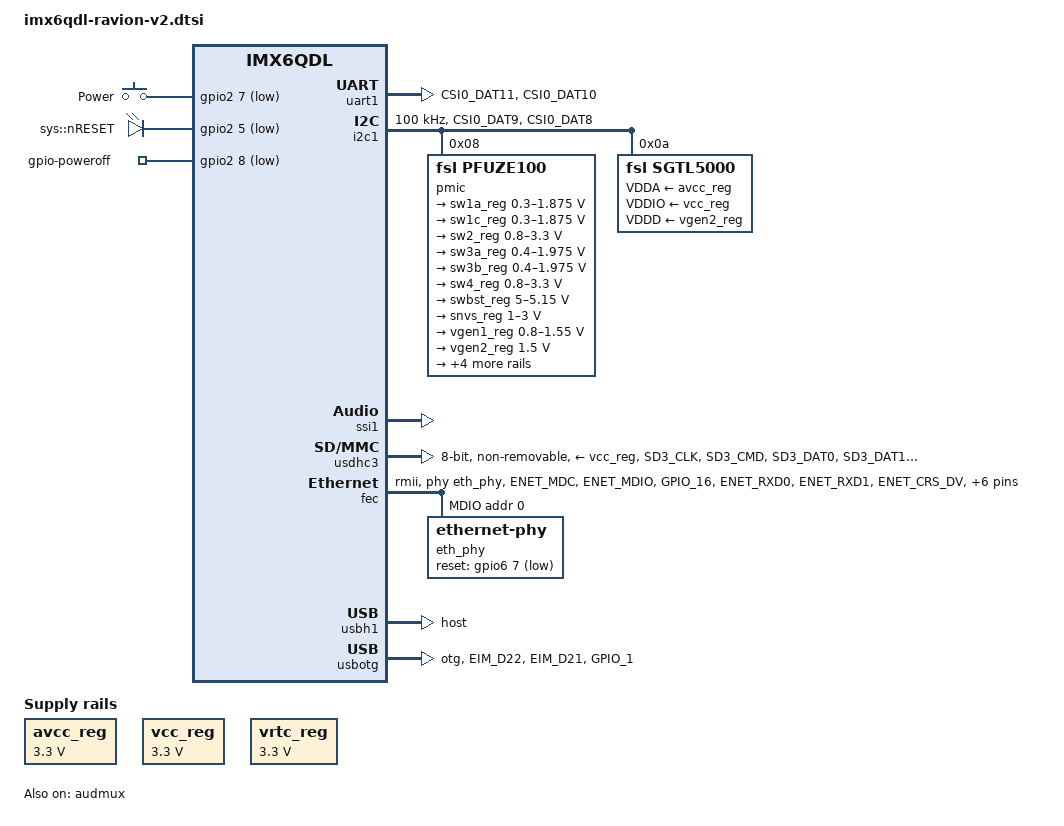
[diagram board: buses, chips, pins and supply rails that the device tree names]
/*****************************************************************************
******************************************************************************
** OAO Radioavionica,
** Ravion200 CPU module rev: 0.7.1
**
** TUNING:
** SPI_CS_GPIO	- use ecspi chip-select as GPIO pin
** DEBUG	- register UART1 as stout patch
**
** (c) 2019, OAO Radiovionica,
**     190105, Russia, St-Petersburg, Troitskiy pr. 4 liter B.
** (c) 2019, Alex A. Mihaylov <minimumlaw@rambler.ru>
******************************************************************************
*****************************************************************************/

#include <dt-bindings/input/input.h>
#include <dt-bindings/gpio/gpio.h>

/ {
	chosen {
#ifdef DEBUG
		stdout-path = "serial0:115200n8";
#endif
	};

	aliases { /* renumbering SD/MMC cards and eMMC chip */
		mmc0 = &usdhc3;
		mmc1 = &usdhc1;
		mmc2 = &usdhc2;
		serial0 = &uart1;
		serial1 = &uart2;
		serial2 = &uart3;
		ethernet0 = &fec;
	};

	/*
	 * Critical GPIO handle
	 */

	gpio-keys {
		compatible = "gpio-keys";

		power {
			label = "Power";
			gpios = <&gpio2 7 GPIO_ACTIVE_LOW>;	/* soDimm 125 */
			linux,code = <KEY_POWER>;
			debounce-interval = <100>;
			wakeup-source;
		};
	};

	gpio-leds {
		compatible = "gpio-leds";

		sys_reset {
			label = "sys::nRESET";
			gpios = <&gpio2 5 GPIO_ACTIVE_LOW>;	/* soDimm 121 */
			default-state = "off";
		};
	};

	gpio-poweroff {
		compatible = "gpio-poweroff";
		gpios = <&gpio2 8 GPIO_ACTIVE_LOW>;		/* soDimm 127 */
	};

	/*
	 * Power sources
	 */

	avcc_reg: avcc_regulator {
		compatible = "regulator-fixed";
		regulator-name = "avcc-supply";
		regulator-min-microvolt = <3300000>;
		regulator-max-microvolt = <3300000>;
		regulator-boot-on;
		regulator-always-on;
	};

	vcc_reg: vcc_regulator {
		compatible = "regulator-fixed";
		regulator-name = "vcc-supply";
		regulator-min-microvolt = <3300000>;
		regulator-max-microvolt = <3300000>;
		regulator-boot-on;
		regulator-always-on;
	};

	vrtc_reg: vrtc_regulator {
		compatible = "regulator-fixed";
		regulator-name = "vrtc-supply";
		regulator-min-microvolt = <3300000>;
		regulator-max-microvolt = <3300000>;
		regulator-boot-on;
		regulator-always-on;
	};

	/* Sound subsystem */
	module_sound: sound {
		compatible = "fsl,imx6-ravion-sgtl5000",
			    "fsl,imx-audio-sgtl5000";
		model = "ravion-sgtl5000";
		ssi-controller = <&ssi1>;
		audio-codec = <&sgtl5000>;
		audio-routing =
		    "MIC_IN", "Mic Jack",
		    "Mic Jack", "Mic Bias",
		    "Headphone Jack", "HP_OUT";
		mux-int-port = <1>;
		mux-ext-port = <4>;
	};

	/* Graphics and video subsystem (TFT interface) */
	tft_display_bus: parallel-display {
		compatible = "fsl,imx-parallel-display";
		#address-cells = <1>;
		#size-cells = <0>;
		interface-pix-fmt = "rgb24";
		pinctrl-names = "default";
		pinctrl-0 = <&pinctrl_tftbus>;
		status = "disabled";

		port@0 {
			reg = <0>;
			tft_bus_in: endpoint {
			    remote-endpoint = <&ipu1_di1_disp1>;
			};
		};

		port@1 {
			reg = <1>;
			tft_bus_out: endpoint {
				/* ToDo: place TFT bus panel or bridge input endpoint here */
			};
		};
	};
};

/* Universal Asynctronous Reseivers and Transmitters */

&uart1 { /* system console - always enabled */
	pinctrl-names = "default";
	pinctrl-0 = <&pinctrl_uart1>;
	status = "okay";
 };

&uart2 { /* Bluetooth uart - default disabled */
	pinctrl-names = "default";
	pinctrl-0 = <&pinctrl_uart2>;
	uart-has-rtscts;
	status = "disabled";
};

&uart3 { /* Addition uart - default disabled */
	pinctrl-names = "default";
	pinctrl-0 = <&pinctrl_uart3>;
	status = "disabled";
};

/* Controller Area Network */
&can1 {
	pinctrl-names = "default";
	pinctrl-0 = <&pinctrl_can>;
	status = "disabled";
};

/* Inter-Integrated Circuit Communications */

&i2c1 { /* Internal I2C - default OK */
	clock-frequency = <100000>;
	pinctrl-names = "default";
	pinctrl-0 = <&pinctrl_i2c_int>;
	status = "okay";

	pmic: pfuze100@8 {
		pinctrl-names = "default";
		pinctrl-0 = <&pinctrl_pmic>; /* ToDo: CCM_PMIC_READY - Where??? */
		compatible = "fsl,pfuze100";
		reg = <0x08>;

		regulators {
			sw1a_reg: sw1ab {
				regulator-min-microvolt = <300000>;
				regulator-max-microvolt = <1875000>;
				regulator-boot-on;
				regulator-always-on;
				regulator-ramp-delay = <6250>;
			    };

			sw1c_reg: sw1c {
				regulator-min-microvolt = <300000>;
				regulator-max-microvolt = <1875000>;
				regulator-boot-on;
				regulator-always-on;
				regulator-ramp-delay = <6250>;
			};

			sw2_reg: sw2 {
				regulator-min-microvolt = <800000>;
				regulator-max-microvolt = <3300000>;
				regulator-boot-on;
				regulator-always-on;
				regulator-ramp-delay = <6250>;
			};

			sw3a_reg: sw3a {
				regulator-min-microvolt = <400000>;
				regulator-max-microvolt = <1975000>;
				regulator-boot-on;
				regulator-always-on;
			};

			sw3b_reg: sw3b {
				regulator-min-microvolt = <400000>;
				regulator-max-microvolt = <1975000>;
				regulator-boot-on;
				regulator-always-on;
			};

			sw4_reg: sw4 {
				regulator-min-microvolt = <800000>;
				regulator-max-microvolt = <3300000>;
			};

			swbst_reg: swbst {
				regulator-min-microvolt = <5000000>;
				regulator-max-microvolt = <5150000>;
				regulator-boot-on;
				regulator-always-on;
			};

			snvs_reg: vsnvs {
				regulator-min-microvolt = <1000000>;
				regulator-max-microvolt = <3000000>;
				regulator-boot-on;
				regulator-always-on;
			};

			vref_reg: vrefddr {
				regulator-boot-on;
				regulator-always-on;
			};

			vgen1_reg: vgen1 {
				regulator-min-microvolt = <800000>;
				regulator-max-microvolt = <1550000>;
			};

			vgen2_reg: vgen2 {
				regulator-min-microvolt = <1500000>;
				regulator-max-microvolt = <1500000>;
				regulator-boot-on;
				regulator-always-on;
			};

			vgen3_reg: vgen3 {
				regulator-min-microvolt = <1800000>;
				regulator-max-microvolt = <3300000>;
				regulator-always-on;
			};

			vgen4_reg: vgen4 {
				regulator-min-microvolt = <1800000>;
				regulator-max-microvolt = <3300000>;
				regulator-always-on;
			};

			vgen5_reg: vgen5 {
				regulator-min-microvolt = <1800000>;
				regulator-max-microvolt = <3300000>;
				regulator-always-on;
			};

			vgen6_reg: vgen6 {
				regulator-min-microvolt = <1800000>;
				regulator-max-microvolt = <3300000>;
				regulator-always-on;
			};
		};
	};

	sgtl5000: codec@a {
		pinctrl-names = "default";
		pinctrl-0 = <&pinctrl_codec_aud4>, <&pinctrl_codecmclk>;
		compatible = "fsl,sgtl5000";
		reg = <0x0a>;
		VDDA-supply = <&avcc_reg>;
		VDDIO-supply = <&vcc_reg>;
		VDDD-supply = <&vgen2_reg>;
		clocks = <&clks IMX6QDL_CLK_CKO>; /* FixMe: CCM_CKO1 pin??? */
		lrclk-strength = <3>;
	};
};

/* Audio (codec part) */

&audmux {	status = "okay";	};
&ssi1	{	status = "okay";	};

&i2c2 { /* Compatible I2C - default disabled */
	clock-frequency = <100000>;
	pinctrl-names = "default";
	pinctrl-0 = <&pinctrl_i2c>;
	status = "disabled";
};

&i2c3 { /* Extended I2C - default disabled */
	clock-frequency = <100000>;
	pinctrl-names = "default";
	pinctrl-0 = <&pinctrl_i2c_ext>;
	status = "disabled";
};

/* Serial Peripherial Interface Bus */

&ecspi1 { /* ECSPI1 - default diabled */
	pinctrl-names = "default";
	pinctrl-0 = <&pinctrl_spi>;
#ifdef SPI_CS_GPIO
	cs-gpios = <&gpio5 25 GPIO_ACTIVE_LOW>;
#endif
	status = "disabled";
};

/* SecureDigital and (embedded) MultiMedia Cards */

&usdhc1 { /* microSD1 - default disabled */
	pinctrl-names = "default";
	pinctrl-0 = <&pinctrl_sd1>;
	bus-width = <4>;
	no-1-8-v;
	status = "disabled";
};

&usdhc2 { /* microSD2 - default disabled */
	pinctrl-names = "default";
	pinctrl-0 = <&pinctrl_sd2>;
	bus-width = <4>;
	no-1-8-v;
	status = "disabled";
};

&usdhc3 { /* eMMC - default enabled */
	pinctrl-names = "default";
	pinctrl-0 = <&pinctrl_emmc>;
	vmmc-supply = <&vcc_reg>;	/* FixMe: GEN_3V3 != VCC */
	vqmmc-supply = <&vgen3_reg>;	/* FixMe: volatage-range??? */
	bus-width = <8>;
	non-removable;
	status = "okay";
};

/* Fast Ethernet Controller */

&fec { /* Ethernet - default enabled */
	pinctrl-names = "default";
	pinctrl-0 = <&pinctrl_fec>;
	phy-mode = "rmii";
	phy-handle = <&eth_phy>;
	status = "okay";

	mdio {
		#address-cells = <1>;
		#size-cells = <0>;

		eth_phy: ethernet-phy@0 {
			reg = <0>;
			phy-is-integrated;
			reset-gpios = <&gpio6 7 GPIO_ACTIVE_LOW>;
			reset-assert-us = <100>;
			reset-deassert-us = <100>;
			interrupt-parent = <&gpio6>;
			interrups = <8 IRQ_TYPE_EDGE_RISING>;
		};
	};
};

/* Personal Communication Interface */

&pcie { /* ToDo: PCIe - default disabled (!!! CLOCKS !!!) */
	status = "disabled";
};

/* Universal Serial Bus */

&usbh1 { /* Host interface - default enabled (always connected to HUB) */
	disable-over-current;
	maximum-speed = "high-speed";
	dr_mode = "host";
	status = "okay";
};

&usbh3 { /* HSIC interface */
	pinctrl-names = "idle", "active";
	pinctrl-0 = <&pinctrl_usbhsic_idle>;
	pinctrl-1 = <&pinctrl_usbhsic_active>;
	hsic-supply = <&vgen1_reg>;
	dr_mode = "host";
	disable-over-current;
	status = "disabled";
};

&usbotg { /* ITG interface - default enabled */
	pinctrl-names = "default";
	pinctrl-0 = <&pinctrl_usbotg>;
	maximum-speed = "high-speed";
	dr_mode = "otg";
	status = "okay";
};

/* Pulse-Width Modulators  */

&pwm3 {
	pinctrl-names = "default";
	pinctrl-0 = <&pinctrl_pwm3>;
	status = "disabled";
};

&pwm4 {
	pinctrl-names = "default";
	pinctrl-0 = <&pinctrl_pwm4>;
	status = "disabled";
};

/* High-Definition Multimedia Interface */

&hdmi {
	pinctrl-names = "default";
	pinctrl-0 = <&pinctrl_hdmi>;
	status = "disabled";
};

/* Low Voltage Display Bridge */

&ldb {
	status = "disabled";

	lvds0_chan: lvds-channel@0 {
		status = "disabled";

		port@4 {
			reg = <4>;

			lvds0_out: endpoint {
				/* ToDo: place LVDS panel input endpoint here */
			};
		};
	};
};

/* IPU1 to Parrallel Display (TFT) Bus */
&ipu1_di1_disp1 {
	remote-endpoint = <&tft_bus_in>;
};


/*
 * Remove unneeded and unconnected parallel sensor port
 */
&gpr {
	ipu1_csi0_mux {
		/delete-node/port@1;
	};

	ipu2_csi1_mux {
		/delete-node/port@1;
	};
};

&iomuxc {
	pinctrl-names = "default";
	pinctrl-0 = <&pinctrl_hog>;

/* Power, reset and other required control pins */

/*	pinctrl_pwr: pwrgrp { */
/*	    fsl, pins = < */
/* 003 */	/* MIC_GND */				/*pwr*/
/* 009 */	/* AGND */				/*pwr*/
/* 011 */	/* AGND */				/*pwr*/
/* 010 */	/* AVCC */				/*pwr*/
/* 012 */	/* AVCC */				/*pwr*/
/* 013 */	/* HP_GND */				/*pwr*/
/* 026 */	/* nRESET_IN */				/*ext*/
/* 039 */	/* GND */				/*pwr*/
/* 041 */	/* GND */				/*pwr*/
/* 083 */	/* GND */				/*pwr*/
/* 109 */	/* GND */				/*pwr*/
/* 147 */	/* GND */				/*pwr*/
/* 181 */	/* GND */				/*pwr*/
/* 197 */	/* GND */				/*pwr*/
/* 199 */	/* GND */				/*pwr*/
/* 040 */	/* VCC */				/*pwr*/
/* 042 */	/* VCC */				/*pwr*/
/* 084 */	/* VCC */				/*pwr*/
/* 108 */	/* VCC */				/*pwr*/
/* 148 */	/* VCC */				/*pwr*/
/* 182 */	/* VCC */				/*pwr*/
/* 198 */	/* VCC */				/*pwr*/
/* 200 */	/* VCC */				/*pwr*/
/* 191 */	/* ETH_GND */				/*pwr*/
/*	    >; */
/*	}; */

/* Universal GPIO group */

	pinctrl_hog: hoggrp {
	    fsl,pins = <
/* 055 */	MX6QDL_PAD_GPIO_2__GPIO1_IO02		0x1b0b0
/* 059 */	MX6QDL_PAD_CSI0_DAT17__GPIO6_IO03	0x1b0b0
/* 085 */	MX6QDL_PAD_CSI0_DAT18__GPIO6_IO04	0x1b0b0
/* 106 */	MX6QDL_PAD_EIM_CS1__GPIO2_IO24		0x0b0b1 /* NXP IOMUX???  SD2_DETECT */
/* 110 */	MX6QDL_PAD_EIM_OE__GPIO2_IO25		0x0b0b1 /* NXP IOMUX ??? */
/* 111 */	MX6QDL_PAD_NANDF_D0__GPIO2_IO00		0x1b0b0
/* 112 */	MX6QDL_PAD_EIM_RW__GPIO2_IO26		0x0b0b1 /* NXP IOMUX ??? */
/* 113 */	MX6QDL_PAD_NANDF_D1__GPIO2_IO01		0x1b0b0
/* 114 */	MX6QDL_PAD_EIM_LBA__GPIO2_IO27		0x0b0b1 /* NXP IOMUX ??? */
/* 115 */	MX6QDL_PAD_NANDF_D2__GPIO2_IO02		0x1b0b0
/* 116 */	MX6QDL_PAD_CSI0_DAT13__GPIO5_IO31	0x1b0b0
/* 117 */	MX6QDL_PAD_NANDF_D3__GPIO2_IO03		0x1b0b0
/* 118 */	MX6QDL_PAD_EIM_DA13__GPIO3_IO13		0x0b0b1 /* NXP IOMUX ??? */
/* 119 */	MX6QDL_PAD_NANDF_D4__GPIO2_IO04		0x0b0b1 /* NXP IOMUX ??? */
/* 120 */	MX6QDL_PAD_EIM_DA15__GPIO3_IO15		0x0b0b1 /* NXP IOMUX ??? */
/* 121 */	MX6QDL_PAD_NANDF_D5__GPIO2_IO05		0x1b0b0 /* nRESET_OUT */
/* 122 */	MX6QDL_PAD_DISP0_DAT15__GPIO5_IO09	0x1b0b0
/* 123 */	MX6QDL_PAD_NANDF_D6__GPIO2_IO06		0x1b0b0
/* 124 */	MX6QDL_PAD_KEY_COL0__GPIO4_IO06		0x1b0b0
/* 125 */	MX6QDL_PAD_NANDF_D7__GPIO2_IO07		0x1b0b0 /* ON/OFF */
/* 126 */	MX6QDL_PAD_KEY_ROW2__GPIO4_IO11		0x1b0b0
/* 127 */	MX6QDL_PAD_SD4_DAT0__GPIO2_IO08		0x1b0b1 /* nPWR_DOWN */
/* 133 */	MX6QDL_PAD_SD4_DAT3__GPIO2_IO11		0x1b0b1
/* 150 */	MX6QDL_PAD_KEY_COL1__GPIO4_IO08		0x1b0b0
/* 152 */	MX6QDL_PAD_KEY_ROW1__GPIO4_IO09		0x1b0b0
/* 154 */	MX6QDL_PAD_KEY_COL2__GPIO4_IO10		0x1b0b0
/* 156 */	MX6QDL_PAD_KEY_COL4__GPIO4_IO14		0x1b0b0
/* 158 */	MX6QDL_PAD_KEY_ROW4__GPIO4_IO15		0x1b0b0
/* 160 */	MX6QDL_PAD_CSI0_DAT15__GPIO6_IO01	0x1b0b0
/* 162 */	MX6QDL_PAD_CSI0_DAT19__GPIO6_IO05	0x1b0b0
/* 164 */	MX6QDL_PAD_CSI0_DAT12__GPIO5_IO30	0x1b0b0
/* 166 */	MX6QDL_PAD_CSI0_DAT16__GPIO6_IO02	0x1b0b0
/* 168 */	MX6QDL_PAD_CSI0_DAT14__GPIO6_IO00	0x1b0b0
/* 170 */	MX6QDL_PAD_CSI0_VSYNC__GPIO5_IO21	0x1b0b0
/* 172 */	MX6QDL_PAD_CSI0_PIXCLK__GPIO5_IO18	0x1b0b0
/* 174 */	MX6QDL_PAD_CSI0_MCLK__GPIO5_IO19	0x1b0b0
/* 176 */	MX6QDL_PAD_GPIO_19__GPIO4_IO05		0x1b0b0
/* 178 */	MX6QDL_PAD_GPIO_9__GPIO1_IO09		0x1b0b0
/* 180 */	MX6QDL_PAD_GPIO_6__GPIO1_IO06		0x1b0b0
/* 184 */	MX6QDL_PAD_GPIO_0__GPIO1_IO00		0x1b0b0
/* 186 */	MX6QDL_PAD_GPIO_18__GPIO7_IO13		0x1b0b0
/* 188 */	MX6QDL_PAD_GPIO_4__GPIO1_IO04		0x1b0b0
/* 190 */	MX6QDL_PAD_KEY_ROW0__GPIO4_IO07		0x1b0b0
/* 192 */	MX6QDL_PAD_CSI0_DATA_EN__GPIO5_IO20	0x1b0b0
	    >;
	};

/* Power Management Intgrated Circuit  */

	pinctrl_pmic: pmicgrp {
	    fsl,pins = <
/* int */	MX6QDL_PAD_GPIO_17__CCM_PMIC_READY	0x1b0b0
	    >;
	};

/* Universal Asyncronous Receivers and Transmitters */

	pinctrl_uart1: uart1grp {
	    fsl,pins = <
/* 033 */	MX6QDL_PAD_CSI0_DAT11__UART1_RX_DATA	0x1b0b0
/* 035 */	MX6QDL_PAD_CSI0_DAT10__UART1_TX_DATA	0x1b0b0
	    >;
	};

	pinctrl_uart1gpio: uart1gpiogrp {
	    fsl,pins = <
/* 023 */	MX6QDL_PAD_EIM_D24__GPIO3_IO24		0x1b0b0
/* 025 */	MX6QDL_PAD_EIM_D19__GPIO3_IO19		0x1b0b0
/* 027 */	MX6QDL_PAD_EIM_D20__GPIO3_IO20		0x1b0b0
/* 029 */	MX6QDL_PAD_EIM_D25__GPIO3_IO25		0x1b0b0
/* 031 */	MX6QDL_PAD_EIM_D23__GPIO3_IO23		0x1b0b0
/* 037 */	MX6QDL_PAD_EIM_EB3__GPIO2_IO31		0x1b0b0
	    >;
	};

	pinctrl_uart2: uart2grp {
	    fsl,pins = <
	/* Freescale idea about CTS/RTS name and direction - wtf??? */
/* 032 */	MX6QDL_PAD_EIM_D28__UART2_DTE_CTS_B	0x1b0b0
/* 034 */	MX6QDL_PAD_EIM_D29__UART2_RTS_B		0x1b0b0
/* 036 */	MX6QDL_PAD_SD4_DAT4__UART2_RX_DATA	0x1b0b0
/* 038 */	MX6QDL_PAD_SD4_DAT7__UART2_TX_DATA	0x1b0b0
	    >;
	};

	pinctrl_uart3: uart3grp {
	    fsl,pins = <
/* 019 */	MX6QDL_PAD_SD4_CLK__UART3_RX_DATA	0x1b0b0
/* 021 */	MX6QDL_PAD_SD4_CMD__UART3_TX_DATA	0x1b0b0
	    >;
	};

/* Pulse-width modulations interfaces */

	pinctrl_pwm3: pwm3grp {
	    fsl,pins = <
/* 028 */	MX6QDL_PAD_SD4_DAT1__PWM3_OUT		0x1b0b0
	    >;
	};

	pinctrl_pwm4: pwm4grp {
	    fsl,pins = <
/* 030 */	MX6QDL_PAD_SD4_DAT2__PWM4_OUT		0x1b0b0
	    >;
	};

/* Clock source interfaces */

	pinctrl_codecmclk: codecmclkgrp {
	    fsl,pins = <
/* int */	MX6QDL_PAD_GPIO_5__CCM_CLKO1		0x1b0b0
	    >;
	};

	pinctrl_clkext: clkextgrp {
	    fsl,pins = <
/* 137 */	MX6QDL_PAD_GPIO_3__CCM_CLKO2		0x1b0b0
	    >;
	};

/* Univeral Serial Bus */

	pinctrl_usbotg: usbotggrp {
	    fsl,pins = <
/* 129 */	MX6QDL_PAD_EIM_D22__USB_OTG_PWR		0x1b0b0
/* 131 */	MX6QDL_PAD_EIM_D21__USB_OTG_OC		0x1b0b0
/* 135 */	MX6QDL_PAD_GPIO_1__USB_OTG_ID		0x1b0b0
/* 143 */	/* USB_OTG_D+ */			/*---*/
/* 145 */	/* USB_OTG_D- */			/*---*/
	    >;
	};

/*	pinctrl_usbhost: usbhostgrp { */
/*	    fsl_pins = < */
/* 139 */	/* USB_H1_D+ */				/*---*/
/* 141 */	/* USB_H1_D- */				/*---*/
/*	    >; */
/*	}; */

	pinctrl_usbhsic_idle: usbhsicgrpidle {
	    fsl,pins = < /* IDLE: STROBE & DATA 100K PULLDOWN */
/* 022 */	MX6QDL_PAD_RGMII_RXC__USB_H3_STROBE	0x13030
/* 024 */	MX6QDL_PAD_RGMII_RX_CTL__USB_H3_DATA	0x13030
	    >;
    };

	pinctrl_usbhsic_active: usbhsicgrpactive {
	    fsl,pins = < /* ACTIVE: STROBE 100K PULLUP */
		MX6QDL_PAD_RGMII_RXC__USB_H3_STROBE	0x1b030
		MX6QDL_PAD_RGMII_RX_CTL__USB_H3_DATA	0x13030
	    >;
    };

/* SecureDigital and (embedded) Multimedia Card Interfaces */

	pinctrl_sd1: sd1grp {
	    fsl,pins = <
/* 043 */	MX6QDL_PAD_SD1_CLK__SD1_CLK		0x1b0b0
/* 045 */	MX6QDL_PAD_SD1_CMD__SD1_CMD		0x1b0b0
/* 047 */	MX6QDL_PAD_SD1_DAT0__SD1_DATA0		0x1b0b0
/* 049 */	MX6QDL_PAD_SD1_DAT1__SD1_DATA1		0x1b0b0
/* 051 */	MX6QDL_PAD_SD1_DAT2__SD1_DATA2		0x1b0b0
/* 053 */	MX6QDL_PAD_SD1_DAT3__SD1_DATA3		0x1b0b0
	    >;
    };

	pinctrl_sd2: sd2grp {
	    fsl,pins = <
/* 094 */	MX6QDL_PAD_SD2_CLK__SD2_CLK		0x1b0b0
/* 096 */	MX6QDL_PAD_SD2_CMD__SD2_CMD		0x1b0b0
/* 098 */	MX6QDL_PAD_SD2_DAT0__SD2_DATA0		0x1b0b0
/* 100 */	MX6QDL_PAD_SD2_DAT1__SD2_DATA1		0x1b0b0
/* 102 */	MX6QDL_PAD_SD2_DAT2__SD2_DATA2		0x1b0b0
/* 104 */	MX6QDL_PAD_SD2_DAT3__SD2_DATA3		0x1b0b0
	    >;
    };

	pinctrl_emmc: emmcgrp {
	    fsl,pins = <
/* int */	MX6QDL_PAD_SD3_CLK__SD3_CLK		0x1b0b0
/* int */	MX6QDL_PAD_SD3_CMD__SD3_CMD		0x1b0b0
/* int */	MX6QDL_PAD_SD3_DAT0__SD3_DATA0		0x1b0b0
/* int */	MX6QDL_PAD_SD3_DAT1__SD3_DATA1		0x1b0b0
/* int */	MX6QDL_PAD_SD3_DAT2__SD3_DATA2		0x1b0b0
/* int */	MX6QDL_PAD_SD3_DAT3__SD3_DATA3		0x1b0b0
/* int */	MX6QDL_PAD_SD3_DAT4__SD3_DATA4		0x1b0b0
/* int */	MX6QDL_PAD_SD3_DAT5__SD3_DATA5		0x1b0b0
/* int */	MX6QDL_PAD_SD3_DAT6__SD3_DATA6		0x1b0b0
/* int */	MX6QDL_PAD_SD3_DAT7__SD3_DATA7		0x1b0b0
/* int */	MX6QDL_PAD_SD3_RST__SD3_RESET		0x1b0b0
	    >;
    };

/* Video Output interfaces */

	pinctrl_tftbus: tftbusgrp {
	    fsl,pins = <
/* 044 */	MX6QDL_PAD_EIM_DA10__IPU1_DI1_PIN15	0x0b0b1	/* DE */
/* 068 */	MX6QDL_PAD_EIM_DA11__IPU1_DI1_PIN02	0x0b0b1	/* HSYNC */
/* 082 */	MX6QDL_PAD_EIM_DA12__IPU1_DI1_PIN03	0x0b0b1	/* VSYNC */
/* 056 */	MX6QDL_PAD_EIM_A16__IPU1_DI1_DISP_CLK	0x0b0b1
/* 076 */	MX6QDL_PAD_EIM_DA9__IPU1_DISP1_DATA00	0x0b0b1
/* 070 */	MX6QDL_PAD_EIM_DA8__IPU1_DISP1_DATA01	0x0b0b1
/* 060 */	MX6QDL_PAD_EIM_DA7__IPU1_DISP1_DATA02	0x0b0b1
/* 058 */	MX6QDL_PAD_EIM_DA6__IPU1_DISP1_DATA03	0x0b0b1
/* 078 */	MX6QDL_PAD_EIM_DA5__IPU1_DISP1_DATA04	0x0b0b1
/* 072 */	MX6QDL_PAD_EIM_DA4__IPU1_DISP1_DATA05	0x0b0b1
/* 080 */	MX6QDL_PAD_EIM_DA3__IPU1_DISP1_DATA06	0x0b0b1
/* 046 */	MX6QDL_PAD_EIM_DA2__IPU1_DISP1_DATA07	0x0b0b1
/* 062 */	MX6QDL_PAD_EIM_DA1__IPU1_DISP1_DATA08	0x0b0b1
/* 048 */	MX6QDL_PAD_EIM_DA0__IPU1_DISP1_DATA09	0x0b0b1
/* 074 */	MX6QDL_PAD_EIM_EB1__IPU1_DISP1_DATA10	0x0b0b1
/* 050 */	MX6QDL_PAD_EIM_EB0__IPU1_DISP1_DATA11	0x0b0b1
/* 052 */	MX6QDL_PAD_EIM_A17__IPU1_DISP1_DATA12	0x0b0b1
/* 054 */	MX6QDL_PAD_EIM_A18__IPU1_DISP1_DATA13	0x0b0b1
/* 066 */	MX6QDL_PAD_EIM_A19__IPU1_DISP1_DATA14	0x0b0b1
/* 064 */	MX6QDL_PAD_EIM_A20__IPU1_DISP1_DATA15	0x0b0b1
/* 057 */	MX6QDL_PAD_EIM_A21__IPU1_DISP1_DATA16	0x0b0b1
/* 061 */	MX6QDL_PAD_EIM_A22__IPU1_DISP1_DATA17	0x0b0b1
/* 136 */	MX6QDL_PAD_EIM_A23__IPU1_DISP1_DATA18	0x0b0b1
/* 138 */	MX6QDL_PAD_EIM_A24__IPU1_DISP1_DATA19	0x0b0b1
/* 140 */	MX6QDL_PAD_EIM_D31__IPU1_DISP1_DATA20	0x1b0b0
/* 142 */	MX6QDL_PAD_EIM_D30__IPU1_DISP1_DATA21	0x1b0b0
/* 144 */	MX6QDL_PAD_EIM_D26__IPU1_DISP1_DATA22	0x1b0b0
/* 146 */	MX6QDL_PAD_EIM_D27__IPU1_DISP1_DATA23	0x1b0b0
	    >;
    };

	pinctrl_hdmi: hdmigrp {
	    fsl,pins = <
/* 087 */	MX6QDL_PAD_KEY_COL3__HDMI_TX_DDC_SCL	0x4001b8b1
/* 089 */	MX6QDL_PAD_KEY_ROW3__HDMI_TX_DDC_SDA	0x4001b8b1
/* 091 */	/* HDMI_HPD */				/*---*/
/* 093 */	/* HDMI_D2- */				/*---*/
/* 095 */	/* HDMI_D2+ */				/*---*/
/* 097 */	/* HDMI_D1- */				/*---*/
/* 099 */	/* HDMI_D1+ */				/*---*/
/* 101 */	/* HDMI_D0- */				/*---*/
/* 103 */	/* HDMI_D0+ */				/*---*/
/* 105 */	/* HDMI_CLK- */				/*---*/
/* 107 */	/* HDMI_CLK+ */				/*---*/
	    >;
    };

/*	pinctrl_lvds: lcdsgrp { */
/*	    fsl, pins = < */
/* 149 */	/* LVDS_CK- */				/*---*/
/* 151 */	/* LVDS_CK+ */				/*---*/
/* 153 */	/* LVDS_D0- */				/*---*/
/* 155 */	/* LVDS_D0+ */				/*---*/
/* 157 */	/* LVDS_D1- */				/*---*/
/* 159 */	/* LVDS_D1+ */				/*---*/
/* 161 */	/* LVDS_D2- */				/*---*/
/* 163 */	/* LVDS_D2+ */				/*---*/
/* 165 */	/* LVDS_D3- */				/*---*/
/* 167 */	/* LVDS_D3+ */				/*---*/
/*	    >; */
/*	}; */

/* Digital and Analog Audio Interface */

	pinctrl_codec_aud4: codec_aud4grp {
	    fsl,pins = <
/* int */	MX6QDL_PAD_DISP0_DAT20__AUD4_TXC	0x1b0b0
/* int */	MX6QDL_PAD_DISP0_DAT22__AUD4_TXFS	0x1b0b0
/* int */	MX6QDL_PAD_DISP0_DAT21__AUD4_TXD	0x1b0b0
/* int */	MX6QDL_PAD_DISP0_DAT23__AUD4_RXD	0x1b0b0
/* 001 */	/* MIC_IN */				/*ext*/
/* 005 */	/* LIN_L */				/*ext*/
/* 007 */	/* LIN_R */				/*ext*/
/* 015 */	/* HP_L */				/*ext*/
/* 017 */	/* HP_R */				/*ext*/
	    >;
	};

	pinctrl_ext_aud5: ext_aud5grp {
	    fsl,pins = <
/* 002 */	MX6QDL_PAD_DISP0_DAT16__AUD5_TXC	0x1b0b0
/* 004 */	MX6QDL_PAD_DISP0_DAT18__AUD5_TXFS	0x1b0b0
/* 006 */	MX6QDL_PAD_DISP0_DAT17__AUD5_TXD	0x1b0b0
/* 008 */	MX6QDL_PAD_DISP0_DAT19__AUD5_RXD	0x1b0b0
	    >;
	};

/* Controller Area Network */
	pinctrl_can:  cangrp{
	    fsl,pins = <
/* 132 */	MX6QDL_PAD_GPIO_8__FLEXCAN1_RX		0x1b0b0
/* 134 */	MX6QDL_PAD_GPIO_7__FLEXCAN1_TX		0x1b0b0
	    >;
	};

/* Serial Peripherial Interface */

	pinctrl_spi: spigrp {
	    fsl,pins = <
#ifdef SPI_CS_GPIO
/* 086 */	MX6QDL_PAD_CSI0_DAT7__GPIO5_IO25	0x1b0b1
#else
/* 086 */	MX6QDL_PAD_CSI0_DAT7__ECSPI1_SS0	0x1b0b1
#endif
/* 088 */	MX6QDL_PAD_CSI0_DAT4__ECSPI1_SCLK	0x1b0b1
/* 090 */	MX6QDL_PAD_CSI0_DAT6__ECSPI1_MISO	0x1b0b1
/* 092 */	MX6QDL_PAD_CSI0_DAT5__ECSPI1_MOSI	0x1b0b1
	    >;
	};

/* Inter. Integrate Circuit */

	pinctrl_i2c_ext: i2c_extgrp {
	    fsl,pins = <
/* 128 */	MX6QDL_PAD_EIM_D17__I2C3_SCL		0x4001b0b0 /* 0x1b0b0 in NXP IOMUX??? */
/* 130 */	MX6QDL_PAD_EIM_D18__I2C3_SDA		0x4001b0b0 /* 0x1b0b0 in NXP IOMUX??? */
	    >;
	};

	pinctrl_i2c: i2cgrp {
	    fsl,pins = <
/* 194 */	MX6QDL_PAD_EIM_D16__I2C2_SDA		0x4001b0b0 /* 0x1b0b0 in NXP IOMUX??? */
/* 196 */	MX6QDL_PAD_EIM_EB2__I2C2_SCL		0x4001b0b0 /* 0x1b0b0 in NXP IOMUX??? */
	    >;
	};

	pinctrl_i2c_int: i2c_intgrp {
	    fsl,pins = <
/* int */	MX6QDL_PAD_CSI0_DAT9__I2C1_SCL		0x4001b0b0 /* 0x1b0b0 in NXP IOMUX??? */
/* int */	MX6QDL_PAD_CSI0_DAT8__I2C1_SDA		0x4001b0b0 /* 0x1b0b0 in NXP IOMUX??? */
	    >;
	};

/* Fast Ethernet Controller */

	pinctrl_fec: fecgrp {
	    fsl,pins = <
/* MDIO bus */
/* int */	MX6QDL_PAD_ENET_MDC__ENET_MDC		0x1b0b0
/* int */	MX6QDL_PAD_ENET_MDIO__ENET_MDIO		0x1b0b0
/* Receive path */
/* int */	MX6QDL_PAD_GPIO_16__ENET_REF_CLK	0x4001b0b0 /* 0x1b0b0 in NXP IOMUX??? */
/* int */	MX6QDL_PAD_ENET_RXD0__ENET_RX_DATA0	0x1b0b0
/* int */	MX6QDL_PAD_ENET_RXD1__ENET_RX_DATA1	0x1b0b0
/* int */	MX6QDL_PAD_ENET_CRS_DV__ENET_RX_EN	0x1b0b0
/* int */	MX6QDL_PAD_ENET_RX_ER__ENET_RX_ER	0x1b0b0
/* Transmit path */
/* int */	MX6QDL_PAD_ENET_TXD0__ENET_TX_DATA0	0x1b0b0
/* int */	MX6QDL_PAD_ENET_TXD1__ENET_TX_DATA1	0x1b0b0
/* int */	MX6QDL_PAD_ENET_TX_EN__ENET_TX_EN	0x1b0b0
/* Control GPIOs */
/* int */	MX6QDL_PAD_NANDF_CLE__GPIO6_IO07	0x1b0b0 /* PHY_nRESET */
/* int */	MX6QDL_PAD_NANDF_ALE__GPIO6_IO08	0x1b0b0 /* PHY_nIRQ */
/* Output pads */
/* 183 */	/* ETH_LINK */				/*ext*/
/* 185 */	/* ETH_SPEED */				/*ext*/
/* 187 */	/* ETH_RX_N */				/*ext*/
/* 189 */	/* ETH_RX_P */				/*ext*/
/* 193 */	/* ETH_TX_N */				/*ext*/
/* 195 */	/* ETH_TX_P */				/*ext*/
	    >;
	};

/* Serial ATA peripherial interface */

/*	pinctrl_sata: satagrp { */
/*	    fsl, pins = < */
/* 014 */	/* SATA_TX+ */				/*---*/
/* 016 */	/* SATA_TX- */				/*---*/
/* 018 */	/* SATA_RX+ */				/*---*/
/* 020 */	/* SATA_RX- */				/*---*/
/*	    >; */
/*	}; */

/* Peripherial Comminication Interface - express  */

/*	pinctrl_pcie: pciegrp { */
/*	    fsl, pins = < */
/* 169 */	/* XTALOSC_CLK1_N */			/*---*/
/* 171 */	/* XTALOSC_CLK1_P */			/*---*/
/* 173 */	/* PCIE_TX_N */				/*---*/
/* 175 */	/* PCIE_TX_P */				/*---*/
/* 177 */	/* PCIE_RX_N */				/*---*/
/* 179 */	/* PCIE_RX_P */				/*---*/
/*	    >; */
/*	}; */

/* Camera Sense Interface */

/*	pinctrl_csi: csigrp { */
/*	    fsl, pins = < */
/* 063 */	/* CSI_DATA0_N */			/*---*/
/* 065 */	/* CSI_DATA0_P */			/*---*/
/* 067 */	/* CSI_DATA1_N */			/*---*/
/* 069 */	/* CSI_DATA1_P */			/*---*/
/* 071 */	/* CSI_DATA2_N */			/*---*/
/* 073 */	/* CSI_DATA2_P */			/*---*/
/* 075 */	/* CSI_DATA3_P */			/*---*/
/* 077 */	/* CSI_DATA3_N */			/*---*/
/* 079 */	/* CSI_CLK_N */				/*---*/
/* 081 */	/* CSI_CLK_P */				/*---*/
/*	    >; */
/*	}; */

}; /* &iomuxc */
